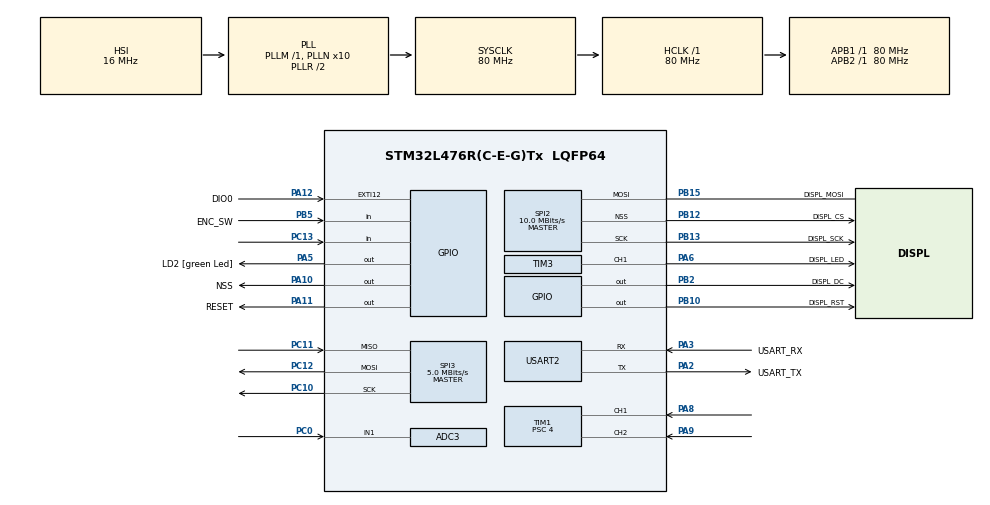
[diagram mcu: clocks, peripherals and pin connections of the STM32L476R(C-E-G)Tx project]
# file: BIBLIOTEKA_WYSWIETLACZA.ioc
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ADC3.ClockPrescaler=ADC_CLOCK_ASYNC_DIV4
ADC3.NbrOfConversionFlag=1
FREERTOS.Tasks01=defaultTask,24,128,StartDefaultTask,Default,NULL,Dynamic,NULL,NULL
FREERTOS.configUSE_NEWLIB_REENTRANT=1
Mcu.Family=STM32L4
Mcu.Name=STM32L476R(C-E-G)Tx
Mcu.Package=LQFP64
NVIC.EXTI15_10_IRQn=true\:5\:0\:false\:false\:true\:true\:true\:true\:true
NVIC.PriorityGroup=NVIC_PRIORITYGROUP_4
NVIC.TIM2_IRQn=true\:15\:0\:false\:false\:true\:false\:false\:true\:true
NVIC.TimeBase=TIM2_IRQn
NVIC.TimeBaseIP=TIM2
PA10.GPIO_Label=NSS
PA10.PinState=GPIO_PIN_SET
PA10.Signal=GPIO_Output
PA11.GPIO_Label=RESET
PA11.PinState=GPIO_PIN_SET
PA11.Signal=GPIO_Output
PA12.GPIO_Label=DIO0
PA12.Signal=GPXTI12
PA13\ (JTMS-SWDIO).GPIO_Label=TMS
PA13\ (JTMS-SWDIO).Mode=Serial_Wire
PA13\ (JTMS-SWDIO).Signal=SYS_JTMS-SWDIO
PA14\ (JTCK-SWCLK).GPIO_Label=TCK
PA14\ (JTCK-SWCLK).Mode=Serial_Wire
PA14\ (JTCK-SWCLK).Signal=SYS_JTCK-SWCLK
PA2.GPIO_Label=USART_TX
PA2.GPIO_Mode=GPIO_MODE_AF_PP
PA2.GPIO_PuPd=GPIO_NOPULL
PA2.GPIO_Speed=GPIO_SPEED_FREQ_VERY_HIGH
PA2.Mode=Asynchronous
PA2.Signal=USART2_TX
PA3.GPIO_Label=USART_RX
PA3.GPIO_Mode=GPIO_MODE_AF_PP
PA3.GPIO_PuPd=GPIO_NOPULL
PA3.GPIO_Speed=GPIO_SPEED_FREQ_VERY_HIGH
PA3.Mode=Asynchronous
PA3.Signal=USART2_RX
PA5.GPIO_Label=LD2 [green Led]
PA5.GPIO_ModeDefaultOutputPP=GPIO_MODE_OUTPUT_PP
PA5.GPIO_PuPd=GPIO_NOPULL
PA5.GPIO_Speed=GPIO_SPEED_FREQ_LOW
PA5.Signal=GPIO_Output
PA6.GPIO_Label=DISPL_LED
PA6.Signal=S_TIM3_CH1
PA8.Signal=S_TIM1_CH1
PA9.Signal=S_TIM1_CH2
PB10.GPIO_Label=DISPL_RST
PB10.GPIO_Speed=GPIO_SPEED_FREQ_HIGH
PB10.Signal=GPIO_Output
PB12.GPIO_Label=DISPL_CS
PB12.Mode=NSS_Signal_Hard_Output
PB12.Signal=SPI2_NSS
PB13.GPIO_Label=DISPL_SCK
PB13.Mode=Simplex_Bidirectional_Master
PB13.Signal=SPI2_SCK
PB15.GPIO_Label=DISPL_MOSI
PB15.Mode=Simplex_Bidirectional_Master
PB15.Signal=SPI2_MOSI
PB2.GPIO_Label=DISPL_DC
PB2.GPIO_Speed=GPIO_SPEED_FREQ_VERY_HIGH
PB2.Signal=GPIO_Output
PB3\ (JTDO-TRACESWO).GPIO_Label=SWO
PB3\ (JTDO-TRACESWO).Signal=SYS_JTDO-SWO
PB5.GPIO_Label=ENC_SW
PB5.GPIO_PuPd=GPIO_PULLUP
PB5.Signal=GPIO_Input
PC0.Signal=ADCx_IN1
PC10.Mode=Full_Duplex_Master
PC10.Signal=SPI3_SCK
PC11.Mode=Full_Duplex_Master
PC11.Signal=SPI3_MISO
PC12.Mode=Full_Duplex_Master
PC12.Signal=SPI3_MOSI
PC13.GPIO_PuPd=GPIO_PULLDOWN
PC13.Signal=GPIO_Input
PC14-OSC32_IN\ (PC14).Mode=LSE-External-Oscillator
PC14-OSC32_IN\ (PC14).Signal=RCC_OSC32_IN
PC15-OSC32_OUT\ (PC15).Mode=LSE-External-Oscillator
PC15-OSC32_OUT\ (PC15).Signal=RCC_OSC32_OUT
PH0-OSC_IN\ (PH0).Signal=RCC_OSC_IN
PH1-OSC_OUT\ (PH1).Signal=RCC_OSC_OUT
ProjectManager.HeapSize=0x200
ProjectManager.StackSize=0x400
ProjectManager.TargetToolchain=STM32CubeIDE
RCC.ADCFreq_Value=64000000
RCC.AHBFreq_Value=80000000
RCC.APB1Freq_Value=80000000
RCC.APB1TimFreq_Value=80000000
RCC.APB2Freq_Value=80000000
RCC.APB2TimFreq_Value=80000000
RCC.CortexFreq_Value=80000000
RCC.HCLKFreq_Value=80000000
RCC.HSE_VALUE=8000000
RCC.HSI_VALUE=16000000
RCC.MSI_VALUE=4000000
RCC.PLLN=10
RCC.PLLSourceVirtual=RCC_PLLSOURCE_HSI
RCC.PREFETCH_ENABLE=1
RCC.SYSCLKFreq_VALUE=80000000
RCC.SYSCLKSource=RCC_SYSCLKSOURCE_PLLCLK
RCC.USBFreq_Value=64000000
RCC.VCOOutputFreq_Value=160000000
SH.ADCx_IN1.0=ADC3_IN1,IN1-Single-Ended
SH.S_TIM1_CH1.0=TIM1_CH1,Encoder_Interface
SH.S_TIM1_CH2.0=TIM1_CH2,Encoder_Interface
SH.S_TIM3_CH1.0=TIM3_CH1,PWM Generation1 CH1
SPI2.BaudRatePrescaler=SPI_BAUDRATEPRESCALER_8
SPI2.CalculateBaudRate=10.0 MBits/s
SPI2.DataSize=SPI_DATASIZE_8BIT
SPI2.Direction=SPI_DIRECTION_1LINE
SPI2.Mode=SPI_MODE_MASTER
SPI2.VirtualNSS=VM_NSSHARD
SPI2.VirtualType=VM_MASTER
SPI3.BaudRatePrescaler=SPI_BAUDRATEPRESCALER_16
SPI3.CalculateBaudRate=5.0 MBits/s
SPI3.DataSize=SPI_DATASIZE_8BIT
SPI3.Direction=SPI_DIRECTION_2LINES
SPI3.Mode=SPI_MODE_MASTER
SPI3.VirtualType=VM_MASTER
STMicroelectronics.X-CUBE-TOUCHGFX.4.22.1.ApplicationCcGraphicsJjApplication=TouchGFXOoGenerator
STMicroelectronics.X-CUBE-TOUCHGFX.4.22.1.tgfx_buffering_strategy=Partial
STMicroelectronics.X-CUBE-TOUCHGFX.4.22.1.tgfx_custom_height=128
STMicroelectronics.X-CUBE-TOUCHGFX.4.22.1.tgfx_custom_width=160
STMicroelectronics.X-CUBE-TOUCHGFX.4.22.1_IsPackSelfContextualization=true
TIM1.EncoderMode=TIM_ENCODERMODE_TI12
TIM1.IC1Filter=15
TIM1.IC2Filter=15
TIM1.Prescaler=4
TIM3.Channel-PWM\ Generation1\ CH1=TIM_CHANNEL_1
USART2.VirtualMode-Asynchronous=VM_ASYNC
VP_CRC_VS_CRC.Mode=CRC_Activate
VP_FREERTOS_VS_CMSIS_V2.Mode=CMSIS_V2
VP_STMicroelectronics.X-CUBE-TOUCHGFX_VS_GraphicsJjApplication_4.22.1.Mode=GraphicsJjApplication
VP_SYS_VS_tim2.Mode=TIM2
board=NUCLEO-L476RG

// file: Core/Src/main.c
/* USER CODE BEGIN Header */
/**
  ******************************************************************************
  * @file           : main.c
  * @brief          : Main program body
  ******************************************************************************
  * @attention
  *
  * Copyright (c) 2024 STMicroelectronics.
  * All rights reserved.
  *
  * This software is licensed under terms that can be found in the LICENSE file
  * in the root directory of this software component.
  * If no LICENSE file comes with this software, it is provided AS-IS.
  *
  ******************************************************************************
  */
/* USER CODE END Header */
#include "main.h"
#include "cmsis_os.h"
#include "adc.h"
#include "crc.h"
#include "spi.h"
#include "tim.h"
#include "usart.h"
#include "gpio.h"
#include "app_touchgfx.h"

/* USER CODE BEGIN Includes */
#include "fonts.h"
#include "z_displ_ST7735.h"

#include <stdlib.h>
#include "LoRa.h"

/* USER CODE END Includes */

/* USER CODE BEGIN PV */

//LoRa myLoRa;
uint8_t read_data[128];
uint8_t send_data[128];
int			RSSI;
LoRa myLoRa;
extern LoRa myLoRa;

/* USER CODE END PV */

void SystemClock_Config(void);
void MX_FREERTOS_Init(void);

int main(void)
{

  /* MCU Configuration--------------------------------------------------------*/

  /* Reset of all peripherals, Initializes the Flash interface and the Systick. */
  HAL_Init();

  /* Configure the system clock */
  SystemClock_Config();

  /* Initialize all configured peripherals */
  MX_GPIO_Init();
  MX_USART2_UART_Init();
  MX_SPI2_Init();
  MX_TIM3_Init();
  MX_CRC_Init();
  MX_ADC3_Init();
  MX_TIM1_Init();
  MX_SPI3_Init();
  MX_TouchGFX_Init();
  /* Call PreOsInit function */
  MX_TouchGFX_PreOSInit();
  /* USER CODE BEGIN 2 */

	Displ_Init(Displ_Orientat_90);// initialize the display and set the initial display orientation (here is orientaton: 0°) - THIS FUNCTION MUST PRECEED ANY OTHER DISPLAY FUNCTION CALL.
	touchgfxSignalVSync();	// asks TouchGFX to start initial display drawing
	//Displ_CLS(BLACK);			// after initialization (above) and before turning on backlight (below), you can draw the initial display appearance. (here I'm just clearing display with a black background)
	Displ_BackLight('1');  	// initialize backlight and turn it on at init level

//	// MODULE SETTINGS ----------------------------------------------
		myLoRa = newLoRa();

		myLoRa.hSPIx                 = &hspi3;
		myLoRa.CS_port               = NSS_GPIO_Port;
		myLoRa.CS_pin                = NSS_Pin;
		myLoRa.reset_port            = RESET_GPIO_Port;
		myLoRa.reset_pin             = RESET_Pin;
		myLoRa.DIO0_port						 = DIO0_GPIO_Port;
		myLoRa.DIO0_pin							 = DIO0_Pin;

		myLoRa.frequency             = 433;							  // default = 433 MHz
		myLoRa.spredingFactor        = SF_7;							// default = SF_7
		myLoRa.bandWidth			       = BW_125KHz;				  // default = BW_125KHz
		myLoRa.crcRate				       = CR_4_5;						// default = CR_4_5
		myLoRa.power					       = POWER_20db;				// default = 20db
		myLoRa.overCurrentProtection = 120; 							// default = 100 mA
		myLoRa.preamble				       = 10;		  					// default = 8;

		LoRa_reset(&myLoRa);
		LoRa_init(&myLoRa);

		// START CONTINUOUS RECEIVING -----------------------------------
		LoRa_startReceiving(&myLoRa);
		//---------------------------------------------------------------

  /* USER CODE END 2 */

  /* Init scheduler */
  osKernelInitialize();

  /* Call init function for freertos objects (in freertos.c) */
  MX_FREERTOS_Init();

  /* Start scheduler */
  osKernelStart();

  /* We should never get here as control is now taken by the scheduler */
  /* Infinite loop */
  /* USER CODE BEGIN WHILE */

	//uint8_t packet_size = 0;
	while (1) {

//		// SENDING DATA - - - - - - - - - - - - - - - - - - - - - - - - -
//				send_data[0] = 0x3B; // MY ADDRESS
//				for(int i=0; i<26; i++)
//					send_data[i+1] = 48+i;
//				//char* send_data = "Hello world!";
//				LoRa_transmit(&myLoRa, send_data, 128, 500);
//				HAL_Delay(1500);

//		// Sprawdź, czy otrzymano dane
//		        packet_size = LoRa_receive(&myLoRa, read_data, sizeof(read_data));
//
//		        if(packet_size > 0) {
//		            // Dane odebrane, możesz je obsłużyć wg potrzeb
//		            // Na przykład, możesz je wysłać przez UART
//		            HAL_UART_Transmit(&huart2, read_data, packet_size, HAL_MAX_DELAY);
//		        }
//
//		        // Tutaj możesz dodać opóźnienie lub inne operacje
//		        HAL_Delay(1000);

//		Displ_PerfTest();
		//if ("event occourred needing a display update")
		 touchgfxSignalVSync();		// asks TouchGFX to get events and redraw screen

    /* USER CODE END WHILE */

  }
}

void SystemClock_Config(void)
{
  RCC_OscInitTypeDef RCC_OscInitStruct = {0};
  RCC_ClkInitTypeDef RCC_ClkInitStruct = {0};

  /** Configure the main internal regulator output voltage
  */
  if (HAL_PWREx_ControlVoltageScaling(PWR_REGULATOR_VOLTAGE_SCALE1) != HAL_OK)
  {
    Error_Handler();
  }

  /** Initializes the RCC Oscillators according to the specified parameters
  * in the RCC_OscInitTypeDef structure.
  */
  RCC_OscInitStruct.OscillatorType = RCC_OSCILLATORTYPE_HSI;
  RCC_OscInitStruct.HSIState = RCC_HSI_ON;
  RCC_OscInitStruct.HSICalibrationValue = RCC_HSICALIBRATION_DEFAULT;
  RCC_OscInitStruct.PLL.PLLState = RCC_PLL_ON;
  RCC_OscInitStruct.PLL.PLLSource = RCC_PLLSOURCE_HSI;
  RCC_OscInitStruct.PLL.PLLM = 1;
  RCC_OscInitStruct.PLL.PLLN = 10;
  RCC_OscInitStruct.PLL.PLLP = RCC_PLLP_DIV7;
  RCC_OscInitStruct.PLL.PLLQ = RCC_PLLQ_DIV2;
  RCC_OscInitStruct.PLL.PLLR = RCC_PLLR_DIV2;
  if (HAL_RCC_OscConfig(&RCC_OscInitStruct) != HAL_OK)
  {
    Error_Handler();
  }

  /** Initializes the CPU, AHB and APB buses clocks
  */
  RCC_ClkInitStruct.ClockType = RCC_CLOCKTYPE_HCLK|RCC_CLOCKTYPE_SYSCLK
                              |RCC_CLOCKTYPE_PCLK1|RCC_CLOCKTYPE_PCLK2;
  RCC_ClkInitStruct.SYSCLKSource = RCC_SYSCLKSOURCE_PLLCLK;
  RCC_ClkInitStruct.AHBCLKDivider = RCC_SYSCLK_DIV1;
  RCC_ClkInitStruct.APB1CLKDivider = RCC_HCLK_DIV1;
  RCC_ClkInitStruct.APB2CLKDivider = RCC_HCLK_DIV1;

  if (HAL_RCC_ClockConfig(&RCC_ClkInitStruct, FLASH_LATENCY_4) != HAL_OK)
  {
    Error_Handler();
  }
}

/* USER CODE BEGIN 4 */

void HAL_GPIO_EXTI_Callback(uint16_t GPIO_Pin){
	if(GPIO_Pin == myLoRa.DIO0_pin){

	}
}
/* USER CODE END 4 */

void HAL_TIM_PeriodElapsedCallback(TIM_HandleTypeDef *htim)
{
  if (htim->Instance == TIM2) {
    HAL_IncTick();
  }
}

void Error_Handler(void)
{
  __disable_irq();
  while (1)
  {
  }
}

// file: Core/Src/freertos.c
/* USER CODE BEGIN Header */
/**
  ******************************************************************************
  * File Name          : freertos.c
  * Description        : Code for freertos applications
  ******************************************************************************
  * @attention
  *
  * Copyright (c) 2024 STMicroelectronics.
  * All rights reserved.
  *
  * This software is licensed under terms that can be found in the LICENSE file
  * in the root directory of this software component.
  * If no LICENSE file comes with this software, it is provided AS-IS.
  *
  ******************************************************************************
  */
/* USER CODE END Header */

#include "FreeRTOS.h"
#include "task.h"
#include "main.h"
#include "cmsis_os.h"

/* USER CODE BEGIN Includes */
#include "app_touchgfx.h"
#include "z_displ_ST7735.h"
/* USER CODE END Includes */

/* Definitions for defaultTask */
osThreadId_t defaultTaskHandle;
const osThreadAttr_t defaultTask_attributes = {
  .name = "defaultTask",
  .stack_size = 128 * 4,
  .priority = (osPriority_t) osPriorityNormal,
};

void StartDefaultTask(void *argument);

void MX_FREERTOS_Init(void); /* (MISRA C 2004 rule 8.1) */

void MX_FREERTOS_Init(void) {

  /* Create the thread(s) */
  /* creation of defaultTask */
  defaultTaskHandle = osThreadNew(StartDefaultTask, NULL, &defaultTask_attributes);

}

void StartDefaultTask(void *argument)
{
  /* USER CODE BEGIN StartDefaultTask */
	Displ_Init(Displ_Orientat_90);// initialize the display and set the initial display orientation (here is orientaton: 0°) - THIS FUNCTION MUST PRECEED ANY OTHER DISPLAY FUNCTION CALL.
		touchgfxSignalVSync();	// asks TouchGFX to start initial display drawing
		//Displ_CLS(BLACK);			// after initialization (above) and before turning on backlight (below), you can draw the initial display appearance. (here I'm just clearing display with a black background)
		Displ_BackLight('1');
  /* Infinite loop */
  for(;;)
  {
	  MX_TouchGFX_Process();
    osDelay(10);
  }
  /* USER CODE END StartDefaultTask */
}
